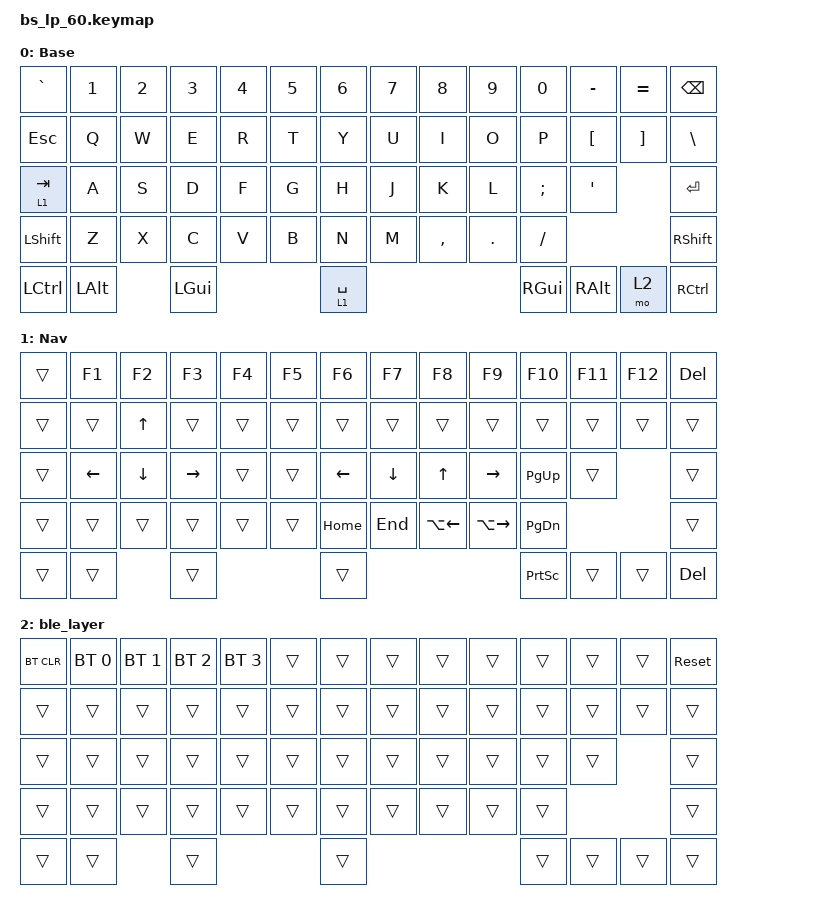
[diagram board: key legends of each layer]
/*
 * Copyright (c) 2021 Cole Smith
 *
 * SPDX-License-Identifier: MIT
 */

#include <dt-bindings/zmk/reset.h>
#include <behaviors.dtsi>
#include <dt-bindings/zmk/bt.h>
#include <dt-bindings/zmk/keys.h>

#define BAS_L 0
#define NAV_L 1

/ {
    keymap {
        compatible = "zmk,keymap";

        default_layer {
            // ------------------------------------------------------------------------------------------
            // | ESC |  1  |  2  |  3  |  4  |  5  |  6  |  7  |  8  |  9  |  0  |  -  |  =  |   BKSP   |
            // | TAB  |  Q  |  W  |  E  |  R  |  T  |  Y  |  U  |  I  |  O  |  P  |  [  |  ]  |   "|"   |
            // | CAPS  |  A  |  S  |  D  |  F  |  G  |  H  |  J  |  K  |  L  |  ;  |  '  |     ENTER    |
            // |  SHIFT  |  Z  |  X  |  C  |  V  |  B  |  N  |  M  |  ,  |  .  |  /  |      SHIFT       |
            // |  CTL  |  WIN  |  ALT  |            SPACE              |  ALT  |  WIN  |  MO(1) |  CTL  |
            // ------------------------------------------------------------------------------------------

            label = "Base";
            bindings = <
&kp GRAVE   &kp N1        &kp N2  &kp N3        &kp N4  &kp N5  &kp N6       &kp N7  &kp N8     &kp N9   &kp N0         &kp MINUS      &kp EQUAL  &kp BSPC
&kp ESCAPE  &kp Q         &kp W   &kp E         &kp R   &kp T   &kp Y        &kp U   &kp I      &kp O    &kp P          &kp LBKT       &kp RBKT   &kp BSLH
&lt 1 TAB   &kp A         &kp S   &kp D         &kp F   &kp G   &kp H        &kp J   &kp K      &kp L    &kp SEMI       &kp SQT                   &kp RET
&kp LSHFT   &kp Z         &kp X   &kp C         &kp V   &kp B   &kp N        &kp M   &kp COMMA  &kp DOT  &kp FSLH                                 &kp RSHFT
&kp LCTRL   &kp LEFT_ALT          &kp LEFT_GUI                  &lt 1 SPACE                              &kp RIGHT_GUI  &kp RIGHT_ALT  &mo 2      &kp RCTRL
            >;
        };

        fn_layer {
            // ------------------------------------------------------------------------------------------------
            // | BT CLR | F1  | F2  | F3  | F4  | F5  | F6  | F7  | F8  | F9  | F10  | F11 | F12 |            |
            // |  BT 1   |   |  UP |   |       |       |       |       |   |     |    |     |     |           |
            // |   BT 2   | LT |  DN  | RT |       |       |       |       |   |     |   |     |              |
            // |    BT 3     |     |      |      |     |     |     |     |     |     |     |                  |
            // |   BT 4  |      |      |                                    | PRT SCR |       |       |  DEL  |
            // ------------------------------------------------------------------------------------------------

            label = "Nav";
            bindings = <
&trans  &kp F1    &kp F2    &kp F3     &kp F4  &kp F5  &kp F6    &kp F7          &kp F8              &kp F9         &kp F10        &kp F11  &kp F12  &kp DELETE
&trans  &trans    &kp UP    &trans     &trans  &trans  &trans    &trans          &trans              &trans         &trans         &trans   &trans   &trans
&trans  &kp LEFT  &kp DOWN  &kp RIGHT  &trans  &trans  &kp LEFT  &kp DOWN_ARROW  &kp UP_ARROW        &kp RIGHT      &kp PAGE_UP    &trans            &trans
&trans  &trans    &trans    &trans     &trans  &trans  &kp HOME  &kp END         &kp LA(LEFT_ARROW)  &kp LA(RIGHT)  &kp PAGE_DOWN                    &trans
&trans  &trans              &trans                     &trans                                                       &kp PSCRN      &trans   &trans   &kp DEL
            >;
        };

        ble_layer {
            bindings = <
&bt BT_CLR  &bt BT_SEL 0  &bt BT_SEL 1  &bt BT_SEL 2  &bt BT_SEL 3  &trans  &trans  &trans  &trans  &trans  &trans  &trans  &trans  &sys_reset
&trans      &trans        &trans        &trans        &trans        &trans  &trans  &trans  &trans  &trans  &trans  &trans  &trans  &trans
&trans      &trans        &trans        &trans        &trans        &trans  &trans  &trans  &trans  &trans  &trans  &trans          &trans
&trans      &trans        &trans        &trans        &trans        &trans  &trans  &trans  &trans  &trans  &trans                  &trans
&trans      &trans                      &trans                              &trans                          &trans  &trans  &trans  &trans
            >;
        };
    };
};
